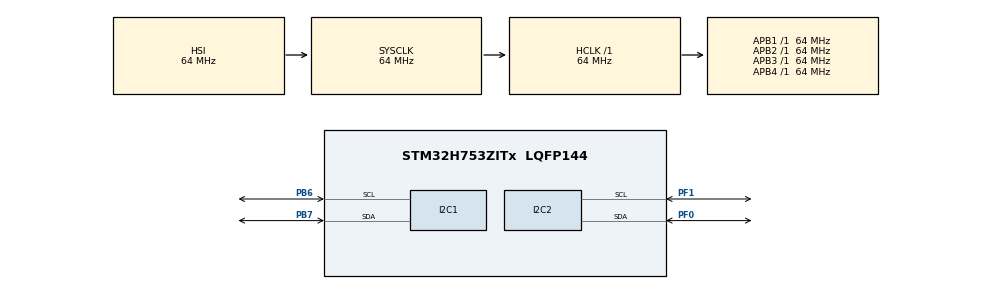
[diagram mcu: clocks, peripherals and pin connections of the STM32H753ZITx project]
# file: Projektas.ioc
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CORTEX_M7.CPU_DCache=Disabled
CORTEX_M7.CPU_ICache=Disabled
CORTEX_M7.MPU_Control=__NULL
CORTEX_M7.default_mode_Activation=1
Mcu.Family=STM32H7
Mcu.Name=STM32H753ZITx
Mcu.Package=LQFP144
NUCLEO-H753ZI.BUTTON=1
NUCLEO-H753ZI.LD1=true
NUCLEO-H753ZI.LD2=true
NUCLEO-H753ZI.LD3=true
NUCLEO-H753ZI.VCP=true
NVIC.EXTI15_10_IRQn=true\:0\:0\:false\:false\:true\:false\:true\:true
NVIC.PriorityGroup=NVIC_PRIORITYGROUP_4
PB6.Mode=I2C
PB6.Signal=I2C1_SCL
PB7.Mode=I2C
PB7.Signal=I2C1_SDA
PC14-OSC32_IN\ (OSC32_IN).Signal=RCC_OSC32_IN
PC15-OSC32_OUT\ (OSC32_OUT).Signal=RCC_OSC32_OUT
PD8.Signal=USART3_TX
PD9.Signal=USART3_RX
PF0.GPIO_Pu=GPIO_NOPULL
PF0.Mode=I2C
PF0.Signal=I2C2_SDA
PF1.GPIO_Pu=GPIO_NOPULL
PF1.Mode=I2C
PF1.Signal=I2C2_SCL
PH0-OSC_IN\ (PH0).Signal=RCC_OSC_IN
PH1-OSC_OUT\ (PH1).Signal=RCC_OSC_OUT
ProjectManager.HeapSize=0x200
ProjectManager.StackSize=0x400
ProjectManager.TargetToolchain=STM32CubeIDE
RCC.ADCFreq_Value=129000000
RCC.APB1Freq_Value=64000000
RCC.APB2Freq_Value=64000000
RCC.APB3Freq_Value=64000000
RCC.APB4Freq_Value=64000000
RCC.CortexFreq_Value=64000000
RCC.DIVM1=1
RCC.DIVN1=24
RCC.DIVQ1=4
RCC.HCLKFreq_Value=64000000
RCC.HSE_VALUE=8000000
RCC.PLLFRACN=0
RCC.PWR_Regulator_Voltage_Scale=PWR_REGULATOR_VOLTAGE_SCALE2
RCC.SYSCLKFreq_VALUE=64000000
RCC.USBFreq_Value=384000000
VP_MEMORYMAP_VS_MEMORYMAP.Mode=CurAppReg
VP_NUCLEO-H753ZI_VS_BSP_COMMON.Mode=COMMON
VP_TIM6_VS_ClockSourceINT.Mode=Enable_Timer
board=NUCLEO-H753ZI

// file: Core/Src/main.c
/* USER CODE BEGIN Header */
/**
  ******************************************************************************
  * @file           : main.c
  * @brief          : Main program body
  ******************************************************************************
  * @attention
  *
  * Copyright (c) 2026 STMicroelectronics.
  * All rights reserved.
  *
  * This software is licensed under terms that can be found in the LICENSE file
  * in the root directory of this software component.
  * If no LICENSE file comes with this software, it is provided AS-IS.
  *
  ******************************************************************************
  */
/* USER CODE END Header */
#include "main.h"

/* USER CODE BEGIN Includes */
#include <stdio.h>
#include "i2c_lcd.h"
#include "bmp180.h"
#include "logika.h"
#include "display.h"
/* USER CODE END Includes */

COM_InitTypeDef BspCOMInit;

I2C_HandleTypeDef hi2c1;
I2C_HandleTypeDef hi2c2;

TIM_HandleTypeDef htim6;

/* USER CODE BEGIN PV */
I2C_LCD_HandleTypeDef lcd1;
BMP180_HandleTypedef bmp180i2c1;
/* USER CODE END PV */

void SystemClock_Config(void);
static void MX_GPIO_Init(void);
static void MX_TIM6_Init(void);
static void MX_I2C1_Init(void);
static void MX_I2C2_Init(void);

int main(void)
{

  /* USER CODE BEGIN 1 */
	char buffer[20];
	int32_t pressure;
	int32_t avg;

	uint32_t sensorT = 0;
	uint32_t lcdT=0;
	uint32_t uartTimer = 0;
  /* USER CODE END 1 */

  /* MCU Configuration--------------------------------------------------------*/

  /* Reset of all peripherals, Initializes the Flash interface and the Systick. */
  HAL_Init();

  /* Configure the system clock */
  SystemClock_Config();

  /* Initialize all configured peripherals */
  MX_GPIO_Init();
  MX_TIM6_Init();
  MX_I2C1_Init();
  MX_I2C2_Init();
  /* USER CODE BEGIN 2 */

  lcd1.hi2c = &hi2c1;
  lcd1.address = 0x4E;
  lcd_init(&lcd1);

  lcd_clear(&lcd1);
  lcd_puts(&lcd1, "BMP180 Init");

  if(BMP180_Init(&bmp180i2c1, &hi2c1) != HAL_OK)
  {
      lcd_clear(&lcd1);
      lcd_puts(&lcd1, "BMP180 ERROR");
      Error_Handler();
  }

  /* USER CODE END 2 */

  /* Initialize leds */
  BSP_LED_Init(LED_GREEN);
  BSP_LED_Init(LED_YELLOW);
  BSP_LED_Init(LED_RED);

  /* Initialize USER push-button, will be used to trigger an interrupt each time it's pressed.*/
  BSP_PB_Init(BUTTON_USER, BUTTON_MODE_EXTI);

  /* Initialize COM1 port (115200, 8 bits (7-bit data + 1 stop bit), no parity */
  BspCOMInit.BaudRate   = 115200;
  BspCOMInit.WordLength = COM_WORDLENGTH_8B;
  BspCOMInit.StopBits   = COM_STOPBITS_1;
  BspCOMInit.Parity     = COM_PARITY_NONE;
  BspCOMInit.HwFlowCtl  = COM_HWCONTROL_NONE;
  if (BSP_COM_Init(COM1, &BspCOMInit) != BSP_ERROR_NONE)
  {
    Error_Handler();
  }

  /* Infinite loop */
  /* USER CODE BEGIN WHILE */
  while (1)
  {
	  uint32_t now = HAL_GetTick();
	  if(now - sensorT >= 1000)
	  {
		  sensorT = now;
		  int32_t avg = Calculate_Avg_Pressure(&bmp180i2c1);

		  printf("Avg: %ld Pa\r\n", avg);

	  }
	  if(now - lcdT >= 5000)
	  {
		  lcdT = now;
		  Display_ShowPressure(&lcd1, avg);
	  }
/*	  pressure1 = BMP180_ReadPressure(&bmp180i2c1);
	      pressure2 = BMP180_ReadPressure(&bmp180i2c2);
	      avg = (pressure1+pressure2)/2;

	      lcd_clear(&lcd1);

	      // First line
	      sprintf(buffer, "1P:%1ld 1P:%2ld", pressure1/100, pressure2/100);
	      lcd_gotoxy(&lcd1, 0, 0);
	      lcd_puts(&lcd1, buffer);

	      // Second line
	      sprintf(buffer, "Avg:%ld Pa", avg);
	      lcd_gotoxy(&lcd1, 0, 1);
	      lcd_puts(&lcd1, buffer);

	      HAL_Delay(1000);
*/
    /* USER CODE END WHILE */

  }
}

void SystemClock_Config(void)
{
  RCC_OscInitTypeDef RCC_OscInitStruct = {0};
  RCC_ClkInitTypeDef RCC_ClkInitStruct = {0};

  /** Supply configuration update enable
  */
  HAL_PWREx_ConfigSupply(PWR_LDO_SUPPLY);

  /** Configure the main internal regulator output voltage
  */
  __HAL_PWR_VOLTAGESCALING_CONFIG(PWR_REGULATOR_VOLTAGE_SCALE2);

  while(!__HAL_PWR_GET_FLAG(PWR_FLAG_VOSRDY)) {}

  /** Initializes the RCC Oscillators according to the specified parameters
  * in the RCC_OscInitTypeDef structure.
  */
  RCC_OscInitStruct.OscillatorType = RCC_OSCILLATORTYPE_HSI;
  RCC_OscInitStruct.HSIState = RCC_HSI_DIV1;
  RCC_OscInitStruct.HSICalibrationValue = RCC_HSICALIBRATION_DEFAULT;
  RCC_OscInitStruct.PLL.PLLState = RCC_PLL_NONE;
  if (HAL_RCC_OscConfig(&RCC_OscInitStruct) != HAL_OK)
  {
    Error_Handler();
  }

  /** Initializes the CPU, AHB and APB buses clocks
  */
  RCC_ClkInitStruct.ClockType = RCC_CLOCKTYPE_HCLK|RCC_CLOCKTYPE_SYSCLK
                              |RCC_CLOCKTYPE_PCLK1|RCC_CLOCKTYPE_PCLK2
                              |RCC_CLOCKTYPE_D3PCLK1|RCC_CLOCKTYPE_D1PCLK1;
  RCC_ClkInitStruct.SYSCLKSource = RCC_SYSCLKSOURCE_HSI;
  RCC_ClkInitStruct.SYSCLKDivider = RCC_SYSCLK_DIV1;
  RCC_ClkInitStruct.AHBCLKDivider = RCC_HCLK_DIV1;
  RCC_ClkInitStruct.APB3CLKDivider = RCC_APB3_DIV1;
  RCC_ClkInitStruct.APB1CLKDivider = RCC_APB1_DIV1;
  RCC_ClkInitStruct.APB2CLKDivider = RCC_APB2_DIV1;
  RCC_ClkInitStruct.APB4CLKDivider = RCC_APB4_DIV1;

  if (HAL_RCC_ClockConfig(&RCC_ClkInitStruct, FLASH_LATENCY_1) != HAL_OK)
  {
    Error_Handler();
  }
}

static void MX_I2C1_Init(void)
{

  hi2c1.Instance = I2C1;
  hi2c1.Init.Timing = 0x10707DBC;
  hi2c1.Init.OwnAddress1 = 0;
  hi2c1.Init.AddressingMode = I2C_ADDRESSINGMODE_7BIT;
  hi2c1.Init.DualAddressMode = I2C_DUALADDRESS_DISABLE;
  hi2c1.Init.OwnAddress2 = 0;
  hi2c1.Init.OwnAddress2Masks = I2C_OA2_NOMASK;
  hi2c1.Init.GeneralCallMode = I2C_GENERALCALL_DISABLE;
  hi2c1.Init.NoStretchMode = I2C_NOSTRETCH_DISABLE;
  if (HAL_I2C_Init(&hi2c1) != HAL_OK)
  {
    Error_Handler();
  }

  /** Configure Analogue filter
  */
  if (HAL_I2CEx_ConfigAnalogFilter(&hi2c1, I2C_ANALOGFILTER_ENABLE) != HAL_OK)
  {
    Error_Handler();
  }

  /** Configure Digital filter
  */
  if (HAL_I2CEx_ConfigDigitalFilter(&hi2c1, 0) != HAL_OK)
  {
    Error_Handler();
  }

}

static void MX_I2C2_Init(void)
{

  hi2c2.Instance = I2C2;
  hi2c2.Init.Timing = 0x10707DBC;
  hi2c2.Init.OwnAddress1 = 0;
  hi2c2.Init.AddressingMode = I2C_ADDRESSINGMODE_7BIT;
  hi2c2.Init.DualAddressMode = I2C_DUALADDRESS_DISABLE;
  hi2c2.Init.OwnAddress2 = 0;
  hi2c2.Init.OwnAddress2Masks = I2C_OA2_NOMASK;
  hi2c2.Init.GeneralCallMode = I2C_GENERALCALL_DISABLE;
  hi2c2.Init.NoStretchMode = I2C_NOSTRETCH_DISABLE;
  if (HAL_I2C_Init(&hi2c2) != HAL_OK)
  {
    Error_Handler();
  }

  /** Configure Analogue filter
  */
  if (HAL_I2CEx_ConfigAnalogFilter(&hi2c2, I2C_ANALOGFILTER_ENABLE) != HAL_OK)
  {
    Error_Handler();
  }

  /** Configure Digital filter
  */
  if (HAL_I2CEx_ConfigDigitalFilter(&hi2c2, 0) != HAL_OK)
  {
    Error_Handler();
  }

}

static void MX_TIM6_Init(void)
{

  TIM_MasterConfigTypeDef sMasterConfig = {0};

  htim6.Instance = TIM6;
  htim6.Init.Prescaler = 0;
  htim6.Init.CounterMode = TIM_COUNTERMODE_UP;
  htim6.Init.Period = 65535;
  htim6.Init.AutoReloadPreload = TIM_AUTORELOAD_PRELOAD_DISABLE;
  if (HAL_TIM_Base_Init(&htim6) != HAL_OK)
  {
    Error_Handler();
  }
  sMasterConfig.MasterOutputTrigger = TIM_TRGO_RESET;
  sMasterConfig.MasterSlaveMode = TIM_MASTERSLAVEMODE_DISABLE;
  if (HAL_TIMEx_MasterConfigSynchronization(&htim6, &sMasterConfig) != HAL_OK)
  {
    Error_Handler();
  }

}

static void MX_GPIO_Init(void)
{

  /* GPIO Ports Clock Enable */
  __HAL_RCC_GPIOC_CLK_ENABLE();
  __HAL_RCC_GPIOF_CLK_ENABLE();
  __HAL_RCC_GPIOH_CLK_ENABLE();
  __HAL_RCC_GPIOB_CLK_ENABLE();

}

void Error_Handler(void)
{
  __disable_irq();
  while (1)
  {
  }
}
